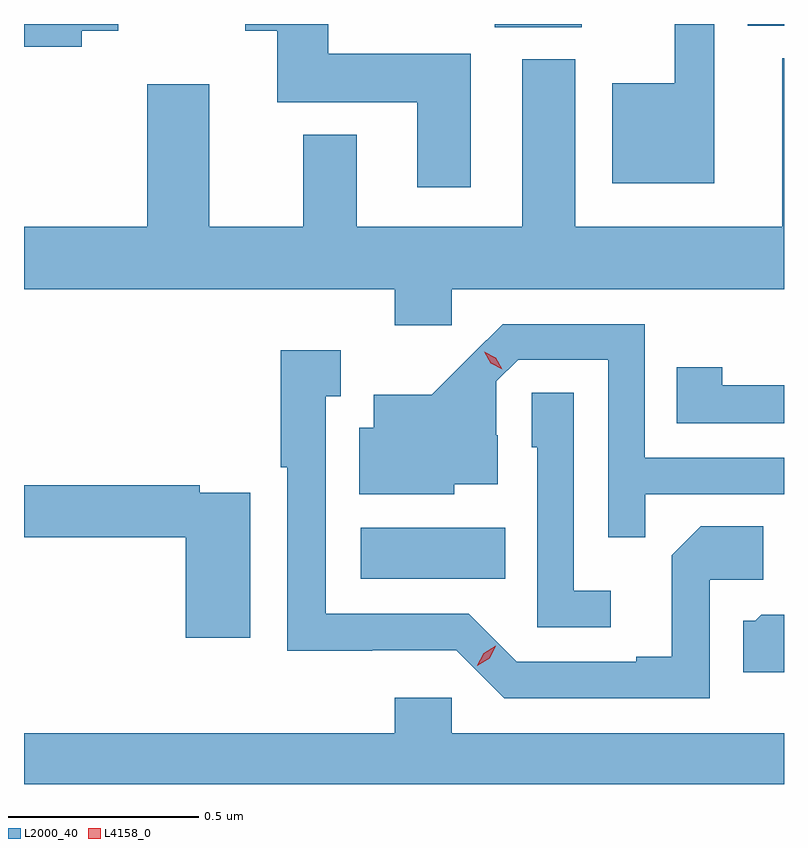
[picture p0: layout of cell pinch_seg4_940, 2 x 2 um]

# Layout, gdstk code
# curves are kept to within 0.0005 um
import gdstk
lib = gdstk.Library(unit=1e-6, precision=1e-09)
def R(c, l, rs):  # rectangles x0, y0, x1, y1
    for r in rs: c.add(gdstk.rectangle(r[:2], r[2:], *l))
def P(c, l, *ps):  # polygons
    for p in ps: c.add(gdstk.Polygon(p, *l))
L2000_40 = (2000, 40)
L4158_0 = (4158, 0)

pinch_seg4_940 = lib.new_cell('pinch_seg4_940')
R(pinch_seg4_940, L2000_40, [(669.066,801.386,669.446,801.52), (669.419,802.838,669.648,802.846), (670.085,802.841,670.18,802.846)])
P(pinch_seg4_940, L2000_40, [(669.997,802.846),(669.893,802.846),(669.893,802.69),(669.728,802.69),(669.728,802.427),(669.997,802.427)],
  [(669.355,802.768),(668.98,802.768),(668.98,802.846),(668.762,802.846),(668.762,802.828),(668.846,802.828),(668.846,802.64),(669.215,802.64),(669.215,802.416),(669.355,802.416)],
  [(668.332,802.828),(668.428,802.828),(668.428,802.846),(668.18,802.846),(668.18,802.786),(668.332,802.786)],
  [(669.155,802.053),(669.306,802.053),(669.306,802.148),(670.18,802.148),(670.18,802.756),(670.175,802.756),(670.175,802.312),(669.631,802.312),(669.631,802.753),(669.491,802.753),(669.491,802.312),(669.055,802.312),(669.055,802.555),(668.915,802.555),(668.915,802.312),(668.668,802.312),(668.668,802.687),(668.504,802.687),(668.504,802.312),(668.18,802.312),(668.18,802.148),(669.155,802.148)],
  [(669.815,801.609),(670.18,801.609),(670.18,801.705),(669.813,801.705),(669.813,802.056),(669.44,802.056),(669.253,801.871),(669.101,801.871),(669.101,801.784),(669.062,801.784),(669.062,801.608),(669.312,801.608),(669.312,801.635),(669.427,801.635),(669.427,801.764),(669.423,801.764),(669.423,801.906),(669.48,801.963),(669.717,801.963),(669.717,801.496),(669.815,801.496)],
  [(669.984,801.384),(670.126,801.384),(670.126,801.524),(669.961,801.524),(669.885,801.448),(669.885,801.181),(669.791,801.181),(669.791,801.168),(669.477,801.168),(669.351,801.294),(668.974,801.294),(668.974,801.867),(669.013,801.867),(669.013,801.988),(668.856,801.988),(668.856,801.679),(668.873,801.679),(668.873,801.197),(669.096,801.197),(669.096,801.198),(669.318,801.198),(669.444,801.072),(669.984,801.072)],
  [(670.18,801.896),(670.017,801.896),(670.017,801.943),(669.898,801.943),(669.898,801.795),(670.18,801.795)],
  [(669.724,801.355),(669.627,801.355),(669.627,801.875),(669.516,801.875),(669.516,801.732),(669.531,801.732),(669.531,801.258),(669.724,801.258)],
  [(668.776,801.612),(668.642,801.612),(668.642,801.632),(668.18,801.632),(668.18,801.496),(668.606,801.496),(668.606,801.231),(668.776,801.231)],
  [(670.18,801.292),(670.12,801.292),(670.104,801.276),(670.073,801.276),(670.073,801.14),(670.18,801.14)],
  [(670.18,800.98),(669.306,800.98),(669.306,801.073),(669.155,801.073),(669.155,800.98),(668.18,800.98),(668.18,800.846),(670.18,800.846)])
P(pinch_seg4_940, L4158_0, [(669.438,801.937),(669.408,801.953),(669.391,801.983),(669.391,801.984),(669.391,801.984),(669.422,801.968),(669.439,801.938),(669.439,801.937)],
  [(669.373,801.157),(669.373,801.158),(669.39,801.19),(669.421,801.21),(669.422,801.21),(669.422,801.21),(669.405,801.177),(669.373,801.157)])

lib.write_gds('pinch_seg4_940.gds')
